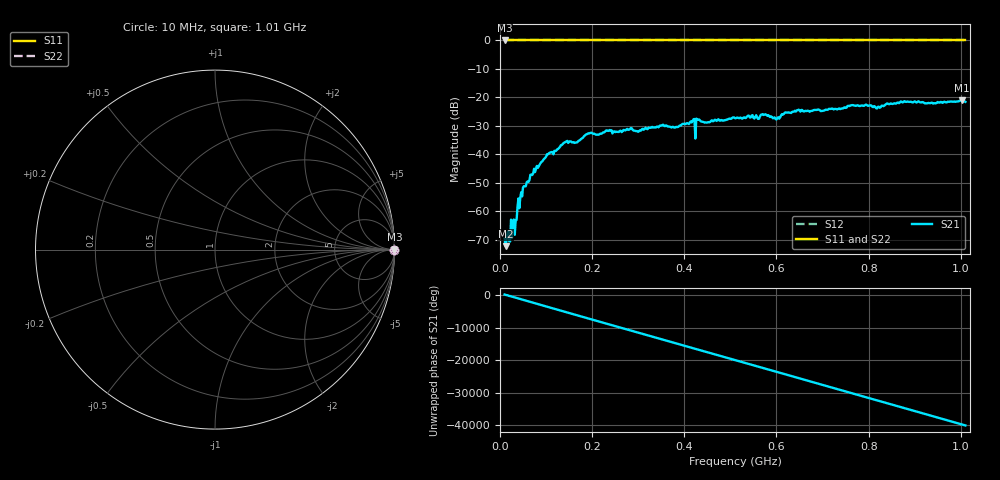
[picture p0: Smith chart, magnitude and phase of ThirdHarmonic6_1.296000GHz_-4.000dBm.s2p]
! 8/16/2025 2:12:56 PM
! C:\ANRITSUVNA\TEMP\TEMP.S2P
! CHANNEL.1
! TR.MEASUREMENT
! RAW.DATA
! RF.CORRECTION.OFF
! AVERAGING.OFF
! IF.BANDWIDTH: 5KHZ
! SWEEPTYPE:  FREQ.SWEEP(Linear)
! Reference Plane Port Info
! PORT:  PORT1  PORT2
! DISTANCE:  0  m  0  m
! TIME:  0  s  0  s
! PHASE.OFFSET:  0  deg.  0  deg.
! LOSS:  0  dB  0  dB
! REF.LOSS:  0  dB  0  dB
! REF.FREQ:  0  Hz  0  Hz
! Power Info
! POWER:  -20  dBm  -20  dBm
! EFF.POWER:  -20  dBm  -20  dBm
! SOURCE.ATTEN:  0  dB  0  dB
! TEST.ATTEN:  0  dB  0  dB
# GHZ S RI R 50.0
! FREQ.GHZ  S11RE  S11IM  S21RE  S21IM  S12RE  S12IM  S22RE  S22IM
!; PortSelection: Port_12
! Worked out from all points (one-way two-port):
!   501 points, 10 MHz to 1.01 GHz, reference 50 ohm
!   highest |S21| = -21.07 dB at 1.002 GHz (marker M1); lowest = -72.2 dB at 12 MHz (marker M2)
!   lowest |S11| = 0.0 dB at 10 MHz (marker M3)
!   |S11| at or under -10 dB: nowhere
!   |S22| runs from 0.0 to 0.0 dB; largest |S21 - S12| = 1.1
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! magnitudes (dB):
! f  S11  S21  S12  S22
! 10 MHz  0.0  -69.6  0.0  0.0
! 12 MHz  0.0  -72.2  0.0  0.0
! 30 MHz  0.0  -62.9  0.0  0.0
! 42 MHz  0.0  -58.9  0.0  0.0
! 48 MHz  0.0  -54.7  0.0  0.0
! 70 MHz  0.0  -47.3  0.0  0.0
! 106 MHz  0.0  -39.6  0.0  0.0
! 142 MHz  0.0  -35.7  0.0  0.0
! 178 MHz  0.0  -34.4  0.0  0.0
! 194 MHz  0.0  -32.7  0.0  0.0
! 344 MHz  0.0  -30.5  0.0  0.0
! 382 MHz  0.0  -30.4  0.0  0.0
! 510 MHz  0.0  -27.3  0.0  0.0
! 572 MHz  0.0  -26.2  0.0  0.0
! 602 MHz  0.0  -27.2  0.0  0.0
! 622 MHz  0.0  -25.3  0.0  0.0
! 678 MHz  0.0  -24.7  0.0  0.0
! 764 MHz  0.0  -22.7  0.0  0.0
! 820 MHz  0.0  -23.3  0.0  0.0
! 844 MHz  0.0  -22.4  0.0  0.0
! 1.002 GHz  0.0  -21.1  0.0  0.0
! 1.01 GHz  0.0  -21.6  0.0  0.0
